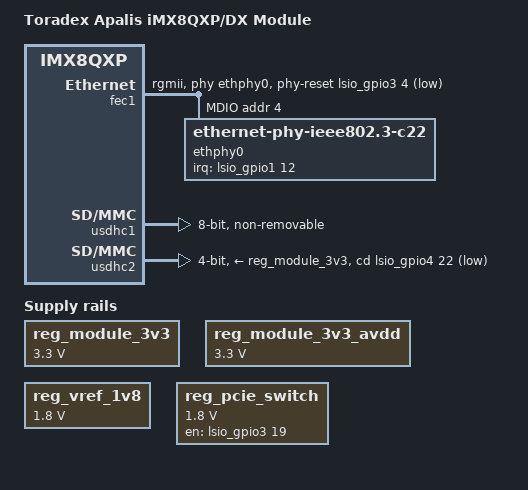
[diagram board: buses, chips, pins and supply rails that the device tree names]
// SPDX-License-Identifier: GPL-2.0+ OR X11
/*
 * Copyright 2018-2019 Toradex
 */

#include <dt-bindings/gpio/gpio.h>
#include "dt-bindings/pwm/pwm.h"
#include "imx8qxp.dtsi"

/ {
	model = "Toradex Apalis iMX8QXP/DX Module";
	compatible = "toradex,apalis-imx8x",
		     "fsl,imx8qxp";

	chosen {
		stdout-path = &lpuart1;
	};

	reg_module_3v3: regulator-module-3v3 {
		compatible = "regulator-fixed";
		regulator-name = "+V3.3";
		regulator-min-microvolt = <3300000>;
		regulator-max-microvolt = <3300000>;
	};

	reg_module_3v3_avdd: regulator-module-3v3-avdd {
		compatible = "regulator-fixed";
		regulator-name = "+V3.3_AVDD_AUDIO";
		regulator-min-microvolt = <3300000>;
		regulator-max-microvolt = <3300000>;
	};

	reg_vref_1v8: regulator-vref-1v8 {
		compatible = "regulator-fixed";
		regulator-name = "vref-1v8";
		regulator-min-microvolt = <1800000>;
		regulator-max-microvolt = <1800000>;
	};

	reg_pcie_switch: regulator-pcie-switch {
		compatible = "regulator-fixed";
		pinctrl-names = "default";
		pinctrl-0 = <&pinctrl_gpio7>;
		enable-active-high;
		gpio = <&lsio_gpio3 19 GPIO_ACTIVE_HIGH>;
		regulator-name = "pcie_switch";
		regulator-min-microvolt = <1800000>;
		regulator-max-microvolt = <1800000>;
		startup-delay-us = <100000>;
	};
};

&lsio_gpio0 {
	gpio-line-names = "",
			  "MXM3_293",
			  "MXM3_295",
			  "MXM3_297",
			  "MXM3_299",
			  "MXM3_301",
			  "MXM3_273",
			  "MXM3_275",
			  "MXM3_277",
			  "MXM3_279",
			  "MXM3_281",
			  "MXM3_283",
			  "MXM3_255",
			  "MXM3_257",
			  "MXM3_259",
			  "MXM3_261",
			  "MXM3_247",
			  "",
			  "",
			  "MXM3_245",
			  "MXM3_243",
			  "MXM3_112",
			  "MXM3_118",
			  "",
			  "MXM3_265",
			  "MXM3_196",
			  "MXM3_200",
			  "MXM3_202",
			  "MXM3_204",
			  "MXM3_310",
			  "MXM3_312",
			  "MXM3_318";
};

&lsio_gpio1 {
	gpio-line-names = "MXM3_235",
			  "MXM3_233",
			  "MXM3_231",
			  "MXM3_229",
			  "MXM3_221",
			  "MXM3_223",
			  "MXM3_225",
			  "MXM3_316",
			  "MXM3_227",
			  "MXM3_307",
			  "MXM3_305",
			  "MXM3_194",
			  "",
			  "MXM3_311",
			  "MXM3_309",
			  "MXM3_128",
			  "MXM3_130",
			  "MXM3_12",
			  "MXM3_14",
			  "MXM3_16",
			  "MXM3_18",
			  "MXM3_132",
			  "MXM3_126",
			  "MXM3_134",
			  "MXM3_136",
			  "MXM3_35",
			  "MXM3_37",
			  "MXM3_4",
			  "MXM3_6",
			  "MXM3_207",
			  "MXM3_205",
			  "MXM3_239";
};

&lsio_gpio2 {
	gpio-line-names = "MXM3_8",
			  "",
			  "",
			  "MXM3_140";
};

&lsio_gpio3 {
	gpio-line-names = "MXM3_191",
			  "MXM3_193",
			  "MXM3_203",
			  "MXM3_201",
			  "",
			  "",
			  "",
			  "",
			  "",
			  "MXM3_96",
			  "MXM3_110",
			  "MXM3_114",
			  "MXM3_116",
			  "MXM3_286",
			  "MXM3_158",
			  "MXM3_198",
			  "MXM3_274",
			  "MXM3_11",
			  "MXM3_13",
			  "MXM3_15",
			  "MXM3_17",
			  "MXM3_1",
			  "MXM3_3",
			  "MXM3_5",
			  "MXM3_7";
};

&lsio_gpio4 {
	gpio-line-names = "",
			  "",
			  "",
			  "MXM3_211",
			  "MXM3_84",
			  "MXM3_262",
			  "MXM3_209",
			  "",
			  "",
			  "",
			  "",
			  "",
			  "",
			  "",
			  "",
			  "",
			  "",
			  "",
			  "",
			  "MXM3_152",
			  "MXM3_148",
			  "MXM3_156",
			  "MXM3_164",
			  "MXM3_154",
			  "MXM3_150",
			  "MXM3_160",
			  "MXM3_162",
			  "MXM3_144",
			  "MXM3_146",
			  "MXM3_77",
			  "MXM3_79",
			  "MXM3_65";
};

&lsio_gpio5 {
	gpio-line-names = "MXM3_67",
			  "MXM3_71",
			  "MXM3_73",
			  "MXM3_113",
			  "MXM3_115",
			  "MXM3_119",
			  "MXM3_121",
			  "MXM3_125",
			  "MXM3_127",
			  "MXM3_131",
			  "MXM3_59",
			  "MXM3_61";
};

/* Apalis Gigabit Ethernet */
&fec1 {
	pinctrl-names = "default";
	pinctrl-0 = <&pinctrl_fec1>;
	fsl,magic-packet;
	fsl,rgmii_rxc_dly;
	fsl,rgmii_txc_dly;
	phy-handle = <&ethphy0>;
	phy-mode = "rgmii";
	phy-reset-duration = <10>;
	phy-reset-gpios = <&lsio_gpio3 4 GPIO_ACTIVE_LOW>;

	mdio {
		#address-cells = <1>;
		#size-cells = <0>;

		ethphy0: ethernet-phy@4 {
			compatible = "ethernet-phy-ieee802.3-c22";
			interrupt-parent = <&lsio_gpio1>;
			interrupts = <12 IRQ_TYPE_LEVEL_LOW>;
			reg = <4>;
			micrel,led-mode = <0>;
		};
	};
};

&iomuxc {
	pinctrl-names = "default";
	pinctrl-0 = <&pinctrl_dap1_gpios>, <&pinctrl_gpio3>, <&pinctrl_gpio4>,
		    <&pinctrl_gpio8>, <&pinctrl_mmc1_gpios>,
		    <&pinctrl_qspi0a_gpios>, <&pinctrl_sata1_act>,
		    <&pinctrl_usbo1oc>, <&pinctrl_wifi_sclk>;

	apalis-imx8qxp {
		/* Apalis AN1_ADC */
		pinctrl_adc0: adc0grp {
			fsl,pins = <
				/* Apalis AN1_ADC0 */
				IMX8QXP_ADC_IN0_ADMA_ADC_IN0			0x60		/* MXM3 305 */
				/* Apalis AN1_ADC1 */
				IMX8QXP_ADC_IN1_ADMA_ADC_IN1			0x60		/* MXM3 307 */
				/* Apalis AN1_ADC2 */
				IMX8QXP_ADC_IN4_ADMA_ADC_IN4			0x60		/* MXM3 309 */
				/* Apalis AN1_TSWIP_ADC3 */
				IMX8QXP_ADC_IN5_ADMA_ADC_IN5			0x60		/* MXM3 311 */
			>;
		};

		/* Apalis BKL1_ON */
		pinctrl_gpio_bkl_on: gpio-bkl-on {
			fsl,pins = <
				IMX8QXP_QSPI0A_DQS_LSIO_GPIO3_IO13		0x21		/* MXM3 286 */
			>;
		};

		/* Apalis BKL1_PWM */
		pinctrl_pwm_mipi_lvds1: pwmmipilvds1grp {
			fsl,pins = <
				IMX8QXP_MIPI_DSI1_GPIO0_00_MIPI_DSI1_PWM0_OUT	0x60		/* MXM3 239 */
			>;
		};

		/* Apalis CAN1 */
		pinctrl_flexcan2: flexcan2grp {
			fsl,pins = <
				IMX8QXP_FLEXCAN1_TX_ADMA_FLEXCAN1_TX		0x21		/* MXM3 14 */
				IMX8QXP_FLEXCAN1_RX_ADMA_FLEXCAN1_RX		0x21		/* MXM3 12 */
			>;
		};

		/* Apalis CAN2 */
		pinctrl_flexcan3: flexcan3grp {
			fsl,pins = <
				IMX8QXP_FLEXCAN2_TX_ADMA_FLEXCAN2_TX		0x21		/* MXM3 18 */
				IMX8QXP_FLEXCAN2_RX_ADMA_FLEXCAN2_RX		0x21		/* MXM3 16 */
			>;
		};

		/* Apalis DAP1 */
		pinctrl_dap1_gpios: dap1gpiosgrp {
			fsl,pins = <
				/* Apalis DAP1_D_OUT */
				IMX8QXP_SAI0_TXD_LSIO_GPIO0_IO25		0x21		/* MXM3 196 */
				/* Apalis DAP1_RESET */
				IMX8QXP_QSPI0A_SS1_B_LSIO_GPIO3_IO15		0x21		/* MXM3 198 */
				/* Apalis DAP1_BIT_CLK */
				IMX8QXP_SAI0_TXC_LSIO_GPIO0_IO26		0x21		/* MXM3 200 */
				/* Apalis DAP1_D_IN */
				IMX8QXP_SAI0_RXD_LSIO_GPIO0_IO27		0x21		/* MXM3 202 */
				/* Apalis DAP1_SYNC */
				IMX8QXP_SAI0_TXFS_LSIO_GPIO0_IO28		0x21		/* MXM3 204 */
			>;
		};

		/* Apalis GPIO1 */
		pinctrl_gpio1: gpio1grp {
			fsl,pins = <
				IMX8QXP_QSPI0B_DATA3_LSIO_GPIO3_IO21		0x21		/* MXM3 1 */
			>;
		};

		/* Apalis GPIO2 */
		pinctrl_gpio2: gpio2grp {
			fsl,pins = <
				IMX8QXP_QSPI0B_DQS_LSIO_GPIO3_IO22		0x21		/* MXM3 3 */
			>;
		};

		/* Apalis GPIO3 */
		pinctrl_gpio3: gpio3grp {
			fsl,pins = <
				IMX8QXP_QSPI0B_SS0_B_LSIO_GPIO3_IO23		0x21		/* MXM3 5 */
			>;
		};

		/* Apalis GPIO4 */
		pinctrl_gpio4: gpio4grp {
			fsl,pins = <
				IMX8QXP_QSPI0B_SS1_B_LSIO_GPIO3_IO24		0x21		/* MXM3 7 */
			>;
		};

		/* Apalis GPIO5 */
		pinctrl_gpio5: gpio5grp {
			fsl,pins = <
				IMX8QXP_QSPI0B_SCLK_LSIO_GPIO3_IO17		0x21		/* MXM3 11 */
			>;
		};

		/* Apalis GPIO6 */
		pinctrl_gpio6: gpio6grp {
			fsl,pins = <
				IMX8QXP_QSPI0B_DATA0_LSIO_GPIO3_IO18		0x21		/* MXM3 13 */
			>;
		};

		/* Apalis GPIO7 */
		pinctrl_gpio7: gpio7grp {
			fsl,pins = <
				IMX8QXP_QSPI0B_DATA1_LSIO_GPIO3_IO19		0x21		/* MXM3 15 */
			>;
		};

		/* Apalis GPIO8 */
		pinctrl_gpio8: gpio8grp {
			fsl,pins = <
				IMX8QXP_QSPI0B_DATA2_LSIO_GPIO3_IO20		0x21		/* MXM3 17 */
			>;
		};

		/* Apalis I2C1 */
		pinctrl_lpi2c1: lpi2c1grp {
			fsl,pins = <
				IMX8QXP_USB_SS3_TC0_ADMA_I2C1_SCL		0x06000021	/* MXM3 211 */
				IMX8QXP_USB_SS3_TC3_ADMA_I2C1_SDA		0x06000021	/* MXM3 209 */
			>;
		};

		/* Apalis I2C2 (DDC) */
		pinctrl_i2c0_mipi_lvds1: mipilvds1i2c0grp {
			fsl,pins = <
				IMX8QXP_MIPI_DSI1_I2C0_SCL_MIPI_DSI1_I2C0_SCL	0xc6000020	/* MXM3 205 */
				IMX8QXP_MIPI_DSI1_I2C0_SDA_MIPI_DSI1_I2C0_SDA	0xc6000020	/* MXM3 207 */
			>;
		};

		/* Apalis I2C3 (CAM) */
		pinctrl_lpi2c3: lpi2c3grp {
			fsl,pins = <
				IMX8QXP_CSI_EN_ADMA_I2C3_SCL			0xc6000020	/* MXM3 203 */
				IMX8QXP_CSI_RESET_ADMA_I2C3_SDA			0xc6000020	/* MXM3 201 */
			>;
		};

		/* Apalis MMC1_ */
		pinctrl_mmc1_gpios: mmc1gpiosgrp {
			fsl,pins = <
				IMX8QXP_QSPI0A_DATA1_LSIO_GPIO3_IO10		0x21		/* MXM3 148 */
				IMX8QXP_QSPI0A_SS0_B_LSIO_GPIO3_IO14		0x21		/* MXM3 158 */
				IMX8QXP_USDHC1_WP_LSIO_GPIO4_IO21		0x21		/* MXM3 156 */
				IMX8QXP_USDHC1_RESET_B_LSIO_GPIO4_IO19		0x21		/* MXM3 152 */
			>;
		};

		/* Apalis MMC1_CD# */
		pinctrl_usdhc2_gpio: mmc1gpiogrp {
			fsl,pins = <
				IMX8QXP_USDHC1_CD_B_LSIO_GPIO4_IO22		0x06000021	/* MXM3 164 */
			>;
		};

		pinctrl_usdhc2_gpio_sleep: usdhc1gpioslpgrp {
			fsl,pins = <
				IMX8QXP_USDHC1_CD_B_LSIO_GPIO4_IO22		0x60		/* MXM3 164 */
			>;
		};

		/* Apalis MMC1 */
		pinctrl_usdhc2: usdhc2grp {
			fsl,pins = <
				IMX8QXP_USDHC1_CLK_CONN_USDHC1_CLK		0x06000041	/* MXM3 154 */
				IMX8QXP_USDHC1_CMD_CONN_USDHC1_CMD		0x21		/* MXM3 150 */
				IMX8QXP_USDHC1_DATA0_CONN_USDHC1_DATA0		0x21		/* MXM3 160 */
				IMX8QXP_USDHC1_DATA1_CONN_USDHC1_DATA1		0x21		/* MXM3 162 */
				IMX8QXP_USDHC1_DATA2_CONN_USDHC1_DATA2		0x21		/* MXM3 144 */
				IMX8QXP_USDHC1_DATA3_CONN_USDHC1_DATA3		0x21		/* MXM3 146 */
				IMX8QXP_USDHC1_VSELECT_CONN_USDHC1_VSELECT	0x21
			>;
		};

		pinctrl_usdhc2_100mhz: usdhc2grp100mhz {
			fsl,pins = <
				IMX8QXP_USDHC1_CLK_CONN_USDHC1_CLK		0x06000041	/* MXM3 154 */
				IMX8QXP_USDHC1_CMD_CONN_USDHC1_CMD		0x21		/* MXM3 150 */
				IMX8QXP_USDHC1_DATA0_CONN_USDHC1_DATA0		0x21		/* MXM3 160 */
				IMX8QXP_USDHC1_DATA1_CONN_USDHC1_DATA1		0x21		/* MXM3 162 */
				IMX8QXP_USDHC1_DATA2_CONN_USDHC1_DATA2		0x21		/* MXM3 144 */
				IMX8QXP_USDHC1_DATA3_CONN_USDHC1_DATA3		0x21		/* MXM3 146 */
				IMX8QXP_USDHC1_VSELECT_CONN_USDHC1_VSELECT	0x21
			>;
		};

		pinctrl_usdhc2_200mhz: usdhc2grp200mhz {
			fsl,pins = <
				IMX8QXP_USDHC1_CLK_CONN_USDHC1_CLK		0x06000041	/* MXM3 154 */
				IMX8QXP_USDHC1_CMD_CONN_USDHC1_CMD		0x21		/* MXM3 150 */
				IMX8QXP_USDHC1_DATA0_CONN_USDHC1_DATA0		0x21		/* MXM3 160 */
				IMX8QXP_USDHC1_DATA1_CONN_USDHC1_DATA1		0x21		/* MXM3 162 */
				IMX8QXP_USDHC1_DATA2_CONN_USDHC1_DATA2		0x21		/* MXM3 144 */
				IMX8QXP_USDHC1_DATA3_CONN_USDHC1_DATA3		0x21		/* MXM3 146 */
				IMX8QXP_USDHC1_VSELECT_CONN_USDHC1_VSELECT	0x21
			>;
		};

		pinctrl_usdhc2_sleep: usdhc2slpgrp {
			fsl,pins = <
				IMX8QXP_USDHC1_CLK_LSIO_GPIO4_IO23		0x60		/* MXM3 154 */
				IMX8QXP_USDHC1_CMD_LSIO_GPIO4_IO24		0x60		/* MXM3 150 */
				IMX8QXP_USDHC1_DATA0_LSIO_GPIO4_IO25		0x60		/* MXM3 160 */
				IMX8QXP_USDHC1_DATA1_LSIO_GPIO4_IO26		0x60		/* MXM3 162 */
				IMX8QXP_USDHC1_DATA2_LSIO_GPIO4_IO27		0x60		/* MXM3 144 */
				IMX8QXP_USDHC1_DATA3_LSIO_GPIO4_IO28		0x60		/* MXM3 146 */
				IMX8QXP_USDHC1_VSELECT_CONN_USDHC1_VSELECT	0x21
			>;
		};

		/* Apalis Parallel Camera */
		pinctrl_parallel_csi: parallelcsigrp {
			fsl,pins = <
				IMX8QXP_CSI_D00_CI_PI_D02			0xC0000041	/* MXM3 187 */
				IMX8QXP_CSI_D01_CI_PI_D03			0xC0000041	/* MXM3 185 */
				IMX8QXP_CSI_D02_CI_PI_D04			0xC0000041	/* MXM3 183 */
				IMX8QXP_CSI_D03_CI_PI_D05			0xC0000041	/* MXM3 181 */
				IMX8QXP_CSI_D04_CI_PI_D06			0xC0000041	/* MXM3 179 */
				IMX8QXP_CSI_D05_CI_PI_D07			0xC0000041	/* MXM3 177 */
				IMX8QXP_CSI_D06_CI_PI_D08			0xC0000041	/* MXM3 175 */
				IMX8QXP_CSI_D07_CI_PI_D09			0xC0000041	/* MXM3 173 */
				IMX8QXP_CSI_MCLK_CI_PI_MCLK			0xC0000041	/* MXM3 193 */
				IMX8QXP_CSI_PCLK_CI_PI_PCLK			0xC0000041	/* MXM3 191 */
				IMX8QXP_CSI_HSYNC_CI_PI_HSYNC			0xC0000041	/* MXM3 197 */
				IMX8QXP_CSI_VSYNC_CI_PI_VSYNC			0xC0000041	/* MXM3 195 */
			>;
		};

		/* Apalis Parallel RGB LCD Interface */
		pinctrl_hog0: hog0grp {
			fsl,pins = <
				IMX8QXP_COMP_CTL_GPIO_1V8_3V3_GPIORHB_PAD	0x000514a0 /* Use pads in 3.3V mode */
			>;
		};

		pinctrl_lcdif: lcdif-pins {
			fsl,pins = <
				IMX8QXP_MCLK_OUT0_ADMA_LCDIF_CLK		0x60		/* MXM3 243 */
				IMX8QXP_MCLK_IN0_ADMA_LCDIF_VSYNC		0x60		/* MXM3 245 */
				IMX8QXP_SPI3_CS0_ADMA_LCDIF_HSYNC		0x60		/* MXM3 247 */
				IMX8QXP_MCLK_IN1_ADMA_LCDIF_EN			0x60		/* MXM3 249 */
				IMX8QXP_SPDIF0_EXT_CLK_ADMA_LCDIF_D12		0x60		/* MXM3 255 */
				IMX8QXP_SPI3_SCK_ADMA_LCDIF_D13			0x60		/* MXM3 257 */
				IMX8QXP_SPI3_SDO_ADMA_LCDIF_D14			0x60		/* MXM3 259 */
				IMX8QXP_SPI3_SDI_ADMA_LCDIF_D15			0x60		/* MXM3 261 */
				IMX8QXP_SPI3_CS1_ADMA_LCDIF_D16			0x60		/* MXM3 263 */
				IMX8QXP_UART1_CTS_B_ADMA_LCDIF_D17		0x60		/* MXM3 265 */
				IMX8QXP_ESAI0_TX2_RX3_ADMA_LCDIF_D06		0x60		/* MXM3 273 */
				IMX8QXP_ESAI0_TX3_RX2_ADMA_LCDIF_D07		0x60		/* MXM3 275 */
				IMX8QXP_ESAI0_TX4_RX1_ADMA_LCDIF_D08		0x60		/* MXM3 277 */
				IMX8QXP_ESAI0_TX5_RX0_ADMA_LCDIF_D09		0x60		/* MXM3 279 */
				IMX8QXP_SPDIF0_RX_ADMA_LCDIF_D10		0x60		/* MXM3 281 */
				IMX8QXP_SPDIF0_TX_ADMA_LCDIF_D11		0x60		/* MXM3 283 */
				IMX8QXP_ESAI0_FSR_ADMA_LCDIF_D00		0x60		/* MXM3 291 */
				IMX8QXP_ESAI0_FST_ADMA_LCDIF_D01		0x60		/* MXM3 293 */
				IMX8QXP_ESAI0_SCKR_ADMA_LCDIF_D02		0x60		/* MXM3 295 */
				IMX8QXP_ESAI0_SCKT_ADMA_LCDIF_D03		0x60		/* MXM3 297 */
				IMX8QXP_ESAI0_TX0_ADMA_LCDIF_D04		0x60		/* MXM3 299 */
				IMX8QXP_ESAI0_TX1_ADMA_LCDIF_D05		0x60		/* MXM3 301 */
			>;
		};

		/* Apalis PWM1 */
		pinctrl_pwm2: pwm2grp {
			fsl,pins = <
				IMX8QXP_UART1_RTS_B_LSIO_PWM2_OUT		0x60		/* MXM3 2 */
			>;
		};

		/* Apalis PWM2 */
		pinctrl_pwm_mipi_lvds0: pwmmipilvds0grp {
			fsl,pins = <
				IMX8QXP_MIPI_DSI0_GPIO0_00_MIPI_DSI0_PWM0_OUT	0x60		/* MXM3 4 */
			>;
		};

		/* Apalis PWM_ */
		pinctrl_pwm_gpios: gpiospwmgrp {
			fsl,pins = <
				IMX8QXP_MIPI_DSI0_GPIO0_01_LSIO_GPIO1_IO28	0x21		/* MXM3 6 */
				IMX8QXP_MIPI_DSI1_GPIO0_01_LSIO_GPIO2_IO00	0x21		/* MXM3 8 */
			>;
		};

		/* Apalis SATA1_ACT# */
		pinctrl_sata1_act: sata1actgrp {
			fsl,pins = <
				IMX8QXP_MIPI_DSI0_I2C0_SCL_LSIO_GPIO1_IO25	0x21		/* MXM3 35 */
			>;
		};

		/* Apalis SPI1 */
		pinctrl_lpspi0: lpspi0grp {
			fsl,pins = <
				IMX8QXP_SPI0_CS0_LSIO_GPIO1_IO08		0x06000040	/* MXM3 227 */
				IMX8QXP_SPI0_SDI_ADMA_SPI0_SDI			0x06000040	/* MXM3 223 */
				IMX8QXP_SPI0_SDO_ADMA_SPI0_SDO			0x06000040	/* MXM3 225 */
				IMX8QXP_SPI0_SCK_ADMA_SPI0_SCK			0x06000040	/* MXM3 221 */
			>;
		};

		/* Apalis SPI2 */
		pinctrl_lpspi2: lpspi2grp {
			fsl,pins = <
				IMX8QXP_SPI2_CS0_LSIO_GPIO1_IO00		0x21		/* MXM3 233 */
				IMX8QXP_SPI2_SDI_ADMA_SPI2_SDI			0x06000040	/* MXM3 229 */
				IMX8QXP_SPI2_SDO_ADMA_SPI2_SDO			0x06000040	/* MXM3 231 */
				IMX8QXP_SPI2_SCK_ADMA_SPI2_SCK			0x06000040	/* MXM3 235 */
			>;
		};

		/* Apalis UART1 */
		pinctrl_lpuart1: lpuart1grp {
			fsl,pins = <
				IMX8QXP_UART1_RX_ADMA_UART1_RX			0x06000020	/* MXM3 118 */
				IMX8QXP_UART1_TX_ADMA_UART1_TX			0x06000020	/* MXM3 112 */
			>;
		};

		/* Apalis UART1_ */
		pinctrl_qspi0a_gpios: qspi0agpiosgrp {
			fsl,pins = <
				IMX8QXP_QSPI0A_DATA2_LSIO_GPIO3_IO11		0x21		/* MXM3 114 */
				IMX8QXP_QSPI0A_DATA3_LSIO_GPIO3_IO12		0x21		/* MXM3 116 */
			>;
		};

		/* Apalis UART2 */
		pinctrl_lpuart0: lpuart0grp {
			fsl,pins = <
				IMX8QXP_UART0_TX_ADMA_UART0_TX			0x06000020	/* MXM3 126 */
				IMX8QXP_UART0_RX_ADMA_UART0_RX			0x06000020	/* MXM3 132 */
				IMX8QXP_FLEXCAN0_RX_ADMA_UART0_RTS_B		0x06000020	/* MXM3 128 */
				IMX8QXP_FLEXCAN0_TX_ADMA_UART0_CTS_B		0x06000020	/* MXM3 130 */
			>;
		};

		/* Apalis UART3 */
		pinctrl_lpuart2: lpuart2grp {
			fsl,pins = <
				IMX8QXP_UART2_TX_ADMA_UART2_TX			0x06000020	/* MXM3 134 */
				IMX8QXP_UART2_RX_ADMA_UART2_RX			0x06000020	/* MXM3 136 */
			>;
		};

		/* Apalis UART4 */
		pinctrl_lpuart3: lpuart3grp {
			fsl,pins = <
				IMX8QXP_SCU_GPIO0_01_ADMA_UART3_TX		0x06000020	/* MXM3 138 */
				IMX8QXP_SCU_GPIO0_00_ADMA_UART3_RX		0x06000020	/* MXM3 140 */
			>;
		};

		/* Apalis USBH_EN */
		pinctrl_usbh_en: usbhen {
			fsl,pins = <
				IMX8QXP_USB_SS3_TC1_LSIO_GPIO4_IO04		0x21		/* MXM3 84 */
			>;
		};

		/* Apalis USBH_OC# */
		pinctrl_gpio_usbh_oc_n: gpiousbhocn {
			fsl,pins = <
				IMX8QXP_QSPI0A_DATA0_LSIO_GPIO3_IO09		0x04000020	/* MXM3 96 */
			>;
		};

		/* Apalis USBO1_EN */
		pinctrl_usbo1_en: usbo1en {
			fsl,pins = <
				/* Apalis USBO1_EN */
				IMX8QXP_QSPI0A_SCLK_LSIO_GPIO3_IO16		0x21		/* MXM3 274 */
			>;
		};

		/* Apalis USBO1 */
		pinctrl_usbo1oc: usbo1oc {
			fsl,pins = <
				/* Apalis USBO1_OC# */
				IMX8QXP_USB_SS3_TC2_LSIO_GPIO4_IO05		0x04000020	/* MXM3 262 */
			>;
		};

		/* Apalis WAKE1_MICO */
		pinctrl_gpio_keys: gpio-keys {
			fsl,pins = <
				IMX8QXP_MIPI_DSI0_I2C0_SDA_LSIO_GPIO1_IO26	0x06680021	/* MXM3 37 */
			>;
		};

		/* On-module Gigabit Ethernet PHY Micrel KSZ9031 */
		pinctrl_fec1: fec1grp {
			fsl,pins = <
				IMX8QXP_COMP_CTL_GPIO_1V8_3V3_ENET_ENETB0_PAD	0x14a0 /* Use pads in 3.3V mode */
				IMX8QXP_COMP_CTL_GPIO_1V8_3V3_ENET_ENETB1_PAD	0x14a0 /* Use pads in 3.3V mode */
				IMX8QXP_ENET0_MDC_CONN_ENET0_MDC		0x06000020
				IMX8QXP_ENET0_MDIO_CONN_ENET0_MDIO		0x06000020
				IMX8QXP_ENET0_RGMII_TX_CTL_CONN_ENET0_RGMII_TX_CTL	0x61
				IMX8QXP_ENET0_RGMII_TXC_CONN_ENET0_RGMII_TXC	0x61
				IMX8QXP_ENET0_RGMII_TXD0_CONN_ENET0_RGMII_TXD0	0x61
				IMX8QXP_ENET0_RGMII_TXD1_CONN_ENET0_RGMII_TXD1	0x61
				IMX8QXP_ENET0_RGMII_TXD2_CONN_ENET0_RGMII_TXD2	0x61
				IMX8QXP_ENET0_RGMII_TXD3_CONN_ENET0_RGMII_TXD3	0x61
				IMX8QXP_ENET0_RGMII_RXC_CONN_ENET0_RGMII_RXC	0x61
				IMX8QXP_ENET0_RGMII_RX_CTL_CONN_ENET0_RGMII_RX_CTL	0x61
				IMX8QXP_ENET0_RGMII_RXD0_CONN_ENET0_RGMII_RXD0	0x61
				IMX8QXP_ENET0_RGMII_RXD1_CONN_ENET0_RGMII_RXD1	0x61
				IMX8QXP_ENET0_RGMII_RXD2_CONN_ENET0_RGMII_RXD2	0x61
				IMX8QXP_ENET0_RGMII_RXD3_CONN_ENET0_RGMII_RXD3	0x61
				/* On-module ETH_RESET# */
				IMX8QXP_MIPI_CSI0_MCLK_OUT_LSIO_GPIO3_IO04	0x21
				/* On-module ETH_INT# */
				IMX8QXP_ADC_IN2_LSIO_GPIO1_IO12			0x21
			>;
		};

		/* On-module GPIO expanders */
		pinctrl_i2c_exp1_int: i2cexp1int {
			fsl,pins = <
				IMX8QXP_PCIE_CTRL0_WAKE_B_LSIO_GPIO4_IO02	0x21
			>;
		};

		pinctrl_i2c_exp2_int: i2cexp2int {
			fsl,pins = <
				IMX8QXP_PCIE_CTRL0_PERST_B_LSIO_GPIO4_IO00	0x21
			>;
		};

		/* On-module eMMC */
		pinctrl_usdhc1: usdhc1grp {
			fsl,pins = <
				IMX8QXP_EMMC0_CLK_CONN_EMMC0_CLK		0x06000041
				IMX8QXP_EMMC0_CMD_CONN_EMMC0_CMD		0x21
				IMX8QXP_EMMC0_DATA0_CONN_EMMC0_DATA0		0x21
				IMX8QXP_EMMC0_DATA1_CONN_EMMC0_DATA1		0x21
				IMX8QXP_EMMC0_DATA2_CONN_EMMC0_DATA2		0x21
				IMX8QXP_EMMC0_DATA3_CONN_EMMC0_DATA3		0x21
				IMX8QXP_EMMC0_DATA4_CONN_EMMC0_DATA4		0x21
				IMX8QXP_EMMC0_DATA5_CONN_EMMC0_DATA5		0x21
				IMX8QXP_EMMC0_DATA6_CONN_EMMC0_DATA6		0x21
				IMX8QXP_EMMC0_DATA7_CONN_EMMC0_DATA7		0x21
				IMX8QXP_EMMC0_STROBE_CONN_EMMC0_STROBE		0x41
				IMX8QXP_EMMC0_RESET_B_CONN_EMMC0_RESET_B	0x21
			>;
		};

		pinctrl_usdhc1_100mhz: usdhc1grp100mhz {
			fsl,pins = <
				IMX8QXP_EMMC0_CLK_CONN_EMMC0_CLK		0x06000041
				IMX8QXP_EMMC0_CMD_CONN_EMMC0_CMD		0x21
				IMX8QXP_EMMC0_DATA0_CONN_EMMC0_DATA0		0x21
				IMX8QXP_EMMC0_DATA1_CONN_EMMC0_DATA1		0x21
				IMX8QXP_EMMC0_DATA2_CONN_EMMC0_DATA2		0x21
				IMX8QXP_EMMC0_DATA3_CONN_EMMC0_DATA3		0x21
				IMX8QXP_EMMC0_DATA4_CONN_EMMC0_DATA4		0x21
				IMX8QXP_EMMC0_DATA5_CONN_EMMC0_DATA5		0x21
				IMX8QXP_EMMC0_DATA6_CONN_EMMC0_DATA6		0x21
				IMX8QXP_EMMC0_DATA7_CONN_EMMC0_DATA7		0x21
				IMX8QXP_EMMC0_STROBE_CONN_EMMC0_STROBE		0x41
				IMX8QXP_EMMC0_RESET_B_CONN_EMMC0_RESET_B	0x21
			>;
		};

		pinctrl_usdhc1_200mhz: usdhc1grp200mhz {
			fsl,pins = <
				IMX8QXP_EMMC0_CLK_CONN_EMMC0_CLK		0x06000041
				IMX8QXP_EMMC0_CMD_CONN_EMMC0_CMD		0x21
				IMX8QXP_EMMC0_DATA0_CONN_EMMC0_DATA0		0x21
				IMX8QXP_EMMC0_DATA1_CONN_EMMC0_DATA1		0x21
				IMX8QXP_EMMC0_DATA2_CONN_EMMC0_DATA2		0x21
				IMX8QXP_EMMC0_DATA3_CONN_EMMC0_DATA3		0x21
				IMX8QXP_EMMC0_DATA4_CONN_EMMC0_DATA4		0x21
				IMX8QXP_EMMC0_DATA5_CONN_EMMC0_DATA5		0x21
				IMX8QXP_EMMC0_DATA6_CONN_EMMC0_DATA6		0x21
				IMX8QXP_EMMC0_DATA7_CONN_EMMC0_DATA7		0x21
				IMX8QXP_EMMC0_STROBE_CONN_EMMC0_STROBE		0x41
				IMX8QXP_EMMC0_RESET_B_CONN_EMMC0_RESET_B	0x21
			>;
		};

		/* On-module I2C */
		pinctrl_lpi2c0: i2c0csi0grp {
			fsl,pins = <
				IMX8QXP_MIPI_CSI0_GPIO0_00_ADMA_I2C0_SCL 	0xc6000020	/* MXM3 140 */
				IMX8QXP_MIPI_CSI0_GPIO0_01_ADMA_I2C0_SDA 	0xc6000020	/* MXM3 142 */
			>;
		};

		/* On-module I2S SGTL5000 for Apalis Analogue Audio */
		pinctrl_sai1: sai1grp {
			fsl,pins = <
				IMX8QXP_SAI1_RXD_ADMA_SAI1_RXD			0x06000040
				IMX8QXP_SPI0_CS1_ADMA_SAI1_TXD			0x06000040
				IMX8QXP_SAI1_RXC_ADMA_SAI1_TXC			0x06000040
				IMX8QXP_SAI1_RXFS_ADMA_SAI1_TXFS		0x06000040
			>;
		};

		/* On-module I2S SGTL5000 SYS_MCLK */
		pinctrl_sgtl5000: sgtl5000grp {
			fsl,pins = <
				IMX8QXP_ADC_IN3_ADMA_ACM_MCLK_OUT0		0x21
			>;
		};

		/* On-module RESET_MOCI#_DRV */
		pinctrl_reset_moci: gpioresetmocigrp {
			fsl,pins = <
				IMX8QXP_PCIE_CTRL0_CLKREQ_B_LSIO_GPIO4_IO01	0x11
			>;
		};

		/* On-module touch pen-down interrupt */
		pinctrl_ad7879_int: ad7879-int {
			fsl,pins = <
				IMX8QXP_MIPI_CSI0_I2C0_SCL_LSIO_GPIO3_IO05	0x21
			>;
		};

		pinctrl_wifi_sclk: wifigrp {
			fsl,pins = <
				IMX8QXP_SCU_BOOT_MODE3_SCU_DSC_RTC_CLOCK_OUTPUT_32K 0x20		/* WiFi Sleep clock */
			>;
		};
	};
};

/* Apalis UART1 */
&lpuart1 {
	pinctrl-names = "default";
	pinctrl-0 = <&pinctrl_lpuart1>;
};

/* Apalis UART2 */
&lpuart0 {
	pinctrl-names = "default";
	pinctrl-0 = <&pinctrl_lpuart0>;
};

/* Apalis UART3 */
&lpuart2 {
	pinctrl-names = "default";
	pinctrl-0 = <&pinctrl_lpuart2>;
};

/* Apalis UART4 */
&lpuart3 {
	pinctrl-names = "default";
	pinctrl-0 = <&pinctrl_lpuart3>;
};

&thermal_zones {
	pmic-thermal0 {
		polling-delay-passive = <250>;
		polling-delay = <2000>;
		thermal-sensors = <&tsens 497>;
		trips {
			pmic_alert0: trip0 {
				temperature = <110000>;
				hysteresis = <2000>;
				type = "passive";
			};
			pmic_crit0: trip1 {
				temperature = <125000>;
				hysteresis = <2000>;
				type = "critical";
			};
		};
		cooling-maps {
			map0 {
				trip = <&pmic_alert0>;
				cooling-device =
					<&A35_0 THERMAL_NO_LIMIT THERMAL_NO_LIMIT>,
					<&A35_1 THERMAL_NO_LIMIT THERMAL_NO_LIMIT>,
					<&A35_2 THERMAL_NO_LIMIT THERMAL_NO_LIMIT>,
					<&A35_3 THERMAL_NO_LIMIT THERMAL_NO_LIMIT>;
			};
		};
	};
};

/* On-module eMMC */
&usdhc1 {
	bus-width = <8>;
	non-removable;
	pinctrl-names = "default", "state_100mhz", "state_200mhz";
	pinctrl-0 = <&pinctrl_usdhc1>;
	pinctrl-1 = <&pinctrl_usdhc1_100mhz>;
	pinctrl-2 = <&pinctrl_usdhc1_200mhz>;
	status = "okay";
};

/* Apalis MMC1 */
&usdhc2 {
	bus-width = <4>;
	cd-gpios = <&lsio_gpio4 22 GPIO_ACTIVE_LOW>;
	disable-wp;
	pinctrl-names = "default", "state_100mhz", "state_200mhz", "sleep";
	pinctrl-0 = <&pinctrl_usdhc2>, <&pinctrl_usdhc2_gpio>;
	pinctrl-1 = <&pinctrl_usdhc2_100mhz>, <&pinctrl_usdhc2_gpio>;
	pinctrl-2 = <&pinctrl_usdhc2_200mhz>, <&pinctrl_usdhc2_gpio>;
	pinctrl-3 = <&pinctrl_usdhc2_sleep>, <&pinctrl_usdhc2_gpio_sleep>;
	vmmc-supply = <&reg_module_3v3>;
};
